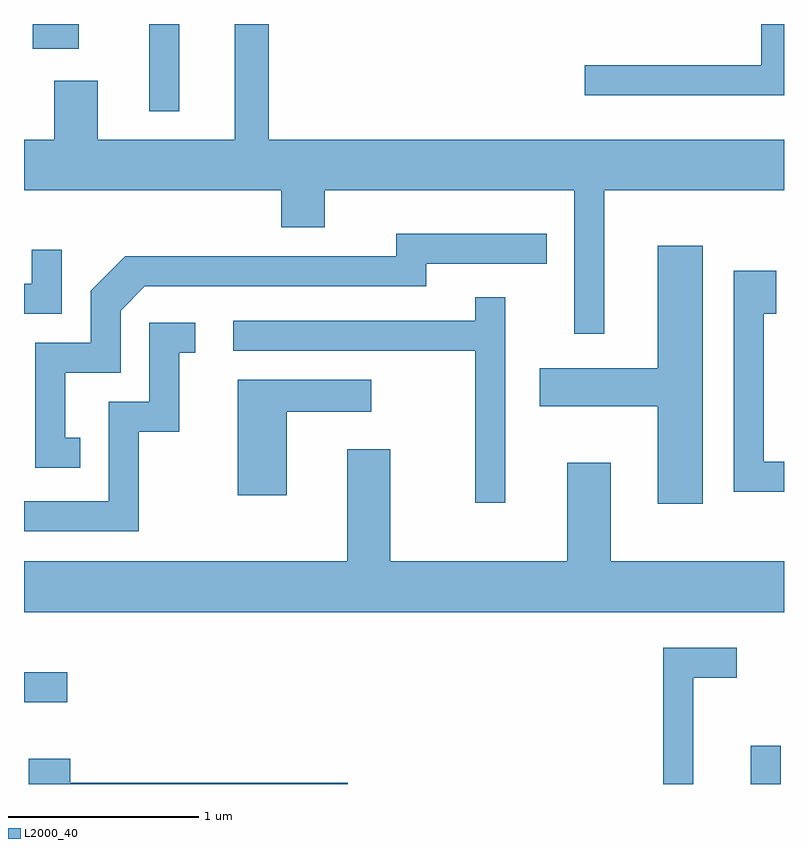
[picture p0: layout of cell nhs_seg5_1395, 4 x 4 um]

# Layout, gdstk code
import gdstk
lib = gdstk.Library(unit=1e-6, precision=1e-09)
def R(c, l, rs):  # rectangles x0, y0, x1, y1
    for r in rs: c.add(gdstk.rectangle(r[:2], r[2:], *l))
def P(c, l, *ps):  # polygons
    for p in ps: c.add(gdstk.Polygon(p, *l))
L2000_40 = (2000, 40)

nhs_seg5_1395 = lib.new_cell('nhs_seg5_1395')
R(nhs_seg5_1395, L2000_40, [(229.436,1498.072,229.594,1498.273), (225.611,1498.501,225.838,1498.659), (226.271,1501.613,226.429,1502.072), (225.656,1501.941,225.899,1502.072), (229.031,1502.071,229.268,1502.072)])
P(nhs_seg5_1395, L2000_40, [(228.664,1501.196),(229.611,1501.196),(229.611,1501.464),(226.899,1501.464),(226.899,1502.072),(226.721,1502.072),(226.721,1501.464),(225.999,1501.464),(225.999,1501.774),(225.771,1501.774),(225.771,1501.464),(225.611,1501.464),(225.611,1501.196),(226.966,1501.196),(226.966,1501.001),(227.194,1501.001),(227.194,1501.196),(228.506,1501.196),(228.506,1500.443),(228.664,1500.443)],
  [(229.611,1502.072),(229.491,1502.072),(229.491,1501.854),(228.563,1501.854),(228.563,1501.696),(229.611,1501.696)],
  [(225.908,1499.894),(225.829,1499.894),(225.829,1500.236),(226.119,1500.236),(226.119,1500.564),(226.247,1500.691),(227.729,1500.691),(227.729,1500.811),(228.363,1500.811),(228.363,1500.969),(227.571,1500.969),(227.571,1500.849),(226.144,1500.849),(225.961,1500.667),(225.961,1500.394),(225.671,1500.394),(225.671,1499.736),(225.908,1499.736)],
  [(229.184,1500.904),(228.946,1500.904),(228.946,1500.259),(228.326,1500.259),(228.326,1500.061),(228.946,1500.061),(228.946,1499.546),(229.184,1499.546)],
  [(225.809,1500.883),(225.651,1500.883),(225.651,1500.704),(225.611,1500.704),(225.611,1500.546),(225.809,1500.546)],
  [(229.611,1499.769),(229.504,1499.769),(229.504,1500.546),(229.569,1500.546),(229.569,1500.774),(229.346,1500.774),(229.346,1499.611),(229.611,1499.611)],
  [(228.144,1500.633),(227.986,1500.633),(227.986,1500.509),(226.713,1500.509),(226.713,1500.351),(227.986,1500.351),(227.986,1499.553),(228.144,1499.553)],
  [(226.214,1499.926),(226.429,1499.926),(226.429,1500.341),(226.513,1500.341),(226.513,1500.499),(226.271,1500.499),(226.271,1500.084),(226.056,1500.084),(226.056,1499.559),(225.611,1499.559),(225.611,1499.401),(226.214,1499.401)],
  [(226.994,1500.031),(227.438,1500.031),(227.438,1500.199),(226.736,1500.199),(226.736,1499.591),(226.994,1499.591)],
  [(229.611,1499.244),(228.699,1499.244),(228.699,1499.764),(228.471,1499.764),(228.471,1499.244),(227.539,1499.244),(227.539,1499.834),(227.311,1499.834),(227.311,1499.244),(225.611,1499.244),(225.611,1498.976),(229.611,1498.976)],
  [(229.134,1498.631),(229.363,1498.631),(229.363,1498.789),(228.976,1498.789),(228.976,1498.072),(229.134,1498.072)],
  [(227.314,1498.079),(225.854,1498.079),(225.854,1498.204),(225.636,1498.204),(225.636,1498.072),(227.314,1498.072)])

lib.write_gds('nhs_seg5_1395.gds')
